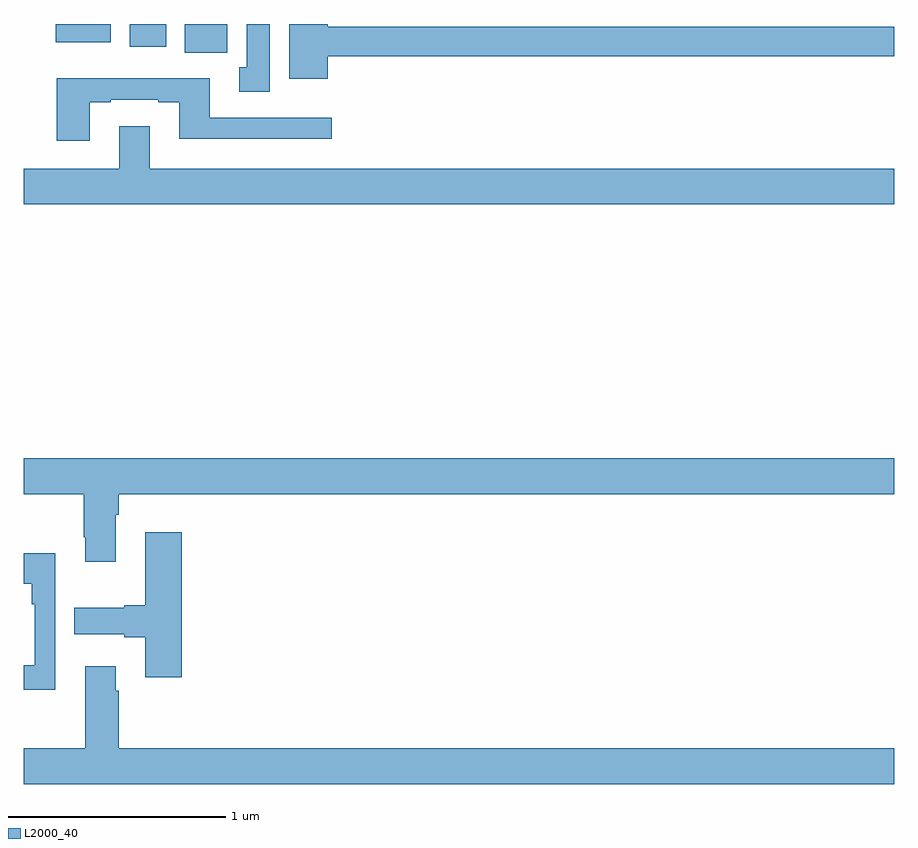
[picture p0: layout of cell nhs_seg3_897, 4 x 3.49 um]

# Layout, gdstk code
import gdstk
lib = gdstk.Library(unit=1e-6, precision=1e-09)
def R(c, l, rs):  # rectangles x0, y0, x1, y1
    for r in rs: c.add(gdstk.rectangle(r[:2], r[2:], *l))
def P(c, l, *ps):  # polygons
    for p in ps: c.add(gdstk.Polygon(p, *l))
L2000_40 = (2000, 40)

nhs_seg3_897 = lib.new_cell('nhs_seg3_897')
R(nhs_seg3_897, L2000_40, [(157.739,712.268,157.936,712.4), (157.487,712.296,157.654,712.4), (157.148,712.316,157.399,712.4)])
P(nhs_seg3_897, L2000_40, [(158.398,712.252),(161,712.252),(161,712.388),(158.398,712.388),(158.398,712.4),(158.219,712.4),(158.219,712.148),(158.398,712.148)],
  [(158.131,712.4),(158.024,712.4),(158.024,712.202),(157.991,712.202),(157.991,712.089),(158.131,712.089)],
  [(157.303,712.041),(157.399,712.041),(157.399,712.053),(157.619,712.053),(157.619,712.041),(157.715,712.041),(157.715,711.872),(158.416,711.872),(158.416,711.969),(157.855,711.969),(157.855,712.15),(157.151,712.15),(157.151,711.864),(157.303,711.864)],
  [(161,711.736),(157.579,711.736),(157.579,711.931),(157.439,711.931),(157.439,711.736),(157,711.736),(157,711.572),(161,711.572)],
  [(157.423,710.144),(157.436,710.144),(157.436,710.24),(161,710.24),(161,710.404),(157,710.404),(157,710.24),(157.276,710.24),(157.276,710.041),(157.283,710.041),(157.283,709.929),(157.423,709.929)],
  [(157.727,710.065),(157.559,710.065),(157.559,709.73),(157.463,709.73),(157.463,709.717),(157.233,709.717),(157.233,709.595),(157.463,709.595),(157.463,709.583),(157.559,709.583),(157.559,709.398),(157.727,709.398)],
  [(157.146,709.969),(157,709.969),(157,709.829),(157.038,709.829),(157.038,709.733),(157.05,709.733),(157.05,709.454),(157,709.454),(157,709.341),(157.146,709.341)],
  [(161,709.072),(157.436,709.072),(157.436,709.337),(157.423,709.337),(157.423,709.45),(157.283,709.45),(157.283,709.072),(157,709.072),(157,708.908),(161,708.908)])

lib.write_gds('nhs_seg3_897.gds')
